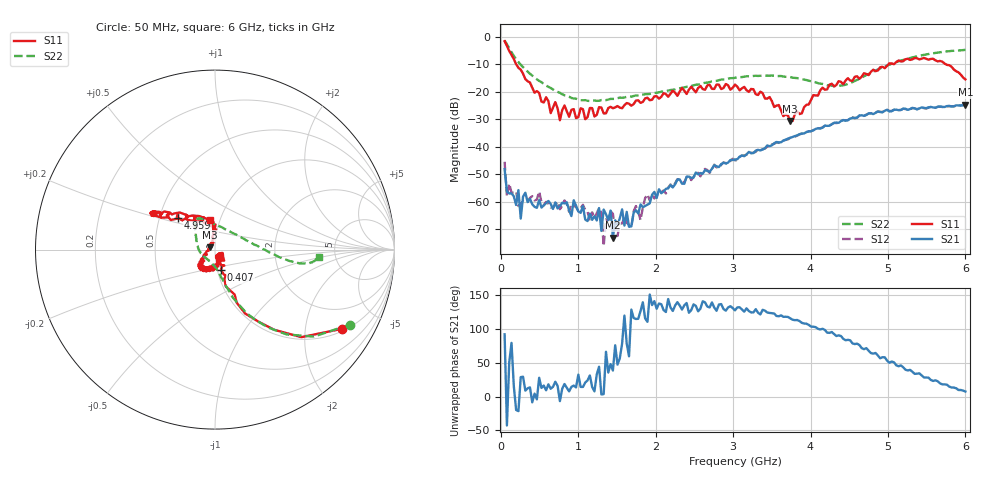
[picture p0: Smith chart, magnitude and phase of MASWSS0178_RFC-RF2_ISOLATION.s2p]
!Part No: MASWSS0178
!2-port De-embedded S-parameters
!Date: 11-02-09
!Temp: Room
!Control Voltage = 0/5V
!REF: AQTN1557
!Fixture Loss is only removed from S21 and S12 data
!47pF Blocking Caps
!RFC to RF2 Isolation State
#GHZ S MA R 50
!Freq(GHz)	S11 (Mag)	S11 (Ang)	S21 (Mag)	S21 (Ang)	S12 (Mag)	S12 (Ang)	S22 (Mag)	S22 (Ang)
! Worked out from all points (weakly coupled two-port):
!   201 points, 50 MHz to 6 GHz, reference 50 ohm
!   highest |S21| = -24.71 dB at 6 GHz (marker M1); lowest = -73.0 dB at 1.448 GHz (marker M2)
!   lowest |S11| = -30.6 dB at 3.739 GHz (marker M3), VSWR 1.06, Z = 47.4 + j1.25 ohm
!   |S11| at or under -10 dB: 200.2 MHz to 5.006 GHz (4.806 GHz wide, 185 % of centre); 5.749 GHz to end of sweep
!   |S22| runs from -23.4 to -1.3 dB; largest |S21 - S12| = 0.0074
!   S11 on the Smith chart (normalised r, x): 50 MHz: 1.09, -3.14; 407 MHz: 1.04, -0.24; 4.959 GHz: 0.62, +0.23; 6 GHz: 0.89, +0.31
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0.05  0.8327 -32.1  0.00395 92.4  0.005359 -11.9  0.8588 -29.1
0.07975  0.685 -45.4  0.001551 -42.8  0.001268 -26.3  0.7335 -41.4
0.2285  0.2737 -66.4  0.001637 -21.6  0.000839 22.6  0.3487 -65.8
0.25825  0.253 -68.4  0.000499 28.9  0.000937 33.4  0.311 -67.9
0.31775  0.1706 -72.3  0.001467 8.9  0.000977 38.7  0.2562 -70.8
0.407  0.1188 -74.0  0.000905 -8.5  0.001272 19.3  0.1977 -74.5
0.764  0.0305 -42.4  0.000834 -6.8  0.000738 6.1  0.09614 -90.4
1.0615  0.04842 -68.3  0.000842 14.3  0.000886 18.5  0.07032 -118.4
1.26975  0.05277 -62.9  0.000773 44.3  0.000775 20.2  0.06884 -138.6
1.2995  0.05199 -78.6  0.000297 3.2  0.000617 14.7  0.07092 -140.8
1.32925  0.04061 -82.4  0.000726 3.7  0.000157 28.1  0.07129 -142.4
1.359  0.0407 -66.5  0.000596 66.5  0.000483 15.4  0.07077 -145.0
1.4185  0.0534 -74.1  0.000696 48.2  0.000678 46.3  0.07459 -150.0
1.44825  0.05041 -75.8  0.000225 38.7  0.000609 39.2  0.07433 -151.6
1.50775  0.05522 -76.2  0.000381 47.4  0.00024 80.9  0.07675 -157.4
2.04325  0.07508 -80.7  0.0017 138.1  0.001501 142.1  0.09801 168.7
3.025  0.1358 -129.6  0.005904 127.9  0.005698 127.0  0.1795 126.8
3.739  0.02961 153.5  0.0146 116.1  0.01468 116.1  0.1853 112.6
4.0365  0.08722 95.8  0.02001 103.7  0.02014 104.4  0.1526 97.2
4.95875  0.2694 139.8  0.04534 58.3  0.04561 57.8  0.2889 -1.4
5.01825  0.3303 144.5  0.04408 50.2  0.04498 50.5  0.3125 -3.7
6  0.1683 100.0  0.05812 7.5  0.05821 7.7  0.5797 -4.0
